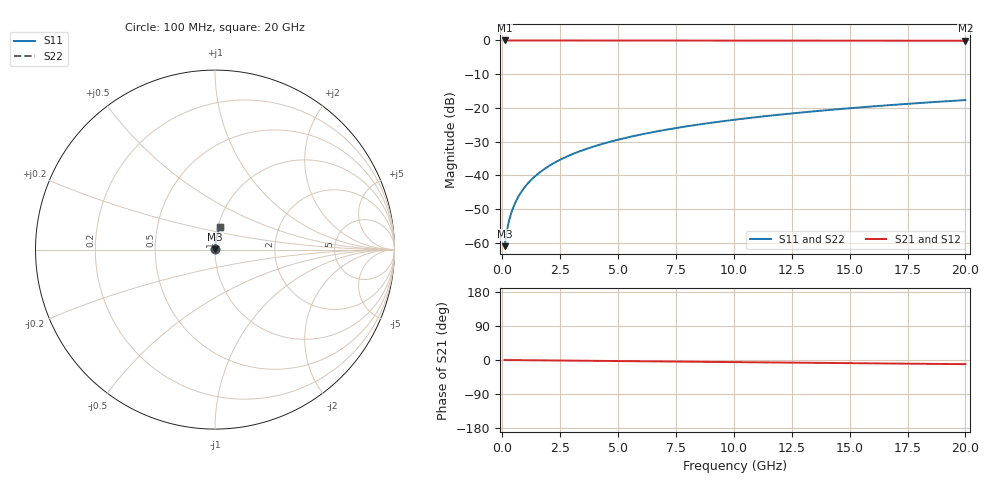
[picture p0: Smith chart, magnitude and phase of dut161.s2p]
! Touchstone file exported from HFSS 2026.1.0
!  File:  C:/ffzhzh/LocalFiles/Ansys_Project_Files/temp_train_TMRDL_161_1782983285_6248.aedt
!  Generated:  05:09:16 PM Jul  2, 2026
!  Design:  TMRDL
!  Project:  temp_train_TMRDL_161_1782983285_6248
! Variables:
!  h_bsmrdl = 2um
!  h_ox = 20um
!  h_rdl = 5um
!  h_sub = 80um
!  h_tmrdl = 4.83um
!  h_tsv = 80um
!  h_via = 3um
!  l_bsmrdl = 300um
!  l_sub = 503.41um
!  l_tmrdl = 103.41um
!  m_sub = 200um
!  pitch = 57.07um
!  r_tsv = 6um
!  s_tmrdl = 10um
!  w_bsmrdl = 18um
!  w_sub = 500um
!  w_tmrdl = 19.9um
!  x_tsv_center1 = 113.36um
!  x_tsv_center2 = 431.36um
!  x_tsv_center3 = 554.67um
!  x_tsv_center4 = 872.67um
!  x_tsv_center5 = 995.98um
!  x_tsv_center6 = 1313.98um
# GHz S MA R 50.000000
! Terminal data exported
! Port[1] = TM_RDL1_1_T1
! Port[2] = TM_RDL1_1_T2
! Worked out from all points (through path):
!   200 points, 100 MHz to 20 GHz, reference 50 ohm
!   highest |S21| = 0.00 dB at 100 MHz (marker M1); lowest = -0.1 dB at 20 GHz (marker M2)
!   group delay of S21, straight-line fit = 1.53 ps
!   lowest |S11| = -61.0 dB at 100 MHz (marker M3), VSWR 1.00, Z = 50.1 + j0.072 ohm
!   |S11| at or under -10 dB: start of sweep to end of sweep
!   |S22| runs from -61.0 to -17.7 dB; largest |S21 - S12| = 2.1e-15
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0.1  0.0008961 53.4  0.9995 -0.1  0.9995 -0.1  0.0008961 53.4
! Gamma 0 0 0 0
! Port Impedance 50 0 50 0
0.2  0.001532 68.6  0.9994 -0.1  0.9994 -0.1  0.001532 68.6
0.3  0.002199 74.5  0.9994 -0.2  0.9994 -0.2  0.002199 74.5
0.4  0.00287 77.6  0.9994 -0.2  0.9994 -0.2  0.00287 77.6
0.5  0.003542 79.6  0.9994 -0.3  0.9994 -0.3  0.003542 79.6
0.7  0.00489 82.0  0.9993 -0.4  0.9993 -0.4  0.00489 82.0
0.8  0.005566 82.8  0.9993 -0.5  0.9993 -0.5  0.005566 82.8
1  0.00692 83.8  0.9993 -0.6  0.9993 -0.6  0.00692 83.8
1.2  0.008277 84.5  0.9993 -0.7  0.9993 -0.7  0.008277 84.5
1.4  0.009636 85.0  0.9992 -0.8  0.9992 -0.8  0.009636 85.0
1.7  0.01167 85.4  0.9992 -1.0  0.9992 -1.0  0.01167 85.4
2  0.01371 85.6  0.9991 -1.1  0.9991 -1.1  0.01371 85.6
2.7  0.01845 85.8  0.999 -1.5  0.999 -1.5  0.01845 85.8
3.5  0.02384 85.7  0.9987 -2.0  0.9987 -2.0  0.02384 85.7
4.2  0.02853 85.4  0.9985 -2.4  0.9985 -2.4  0.02853 85.4
5  0.03386 85.1  0.9982 -2.8  0.9982 -2.8  0.03386 85.1
6.8  0.04577 84.3  0.9975 -3.8  0.9975 -3.8  0.04577 84.3
8.3  0.05562 83.6  0.9968 -4.6  0.9968 -4.6  0.05562 83.6
10.1  0.06737 82.8  0.9959 -5.6  0.9959 -5.6  0.06737 82.8
13.4  0.08876 81.2  0.9939 -7.4  0.9939 -7.4  0.08876 81.2
16.7  0.1099 79.5  0.9915 -9.2  0.9915 -9.2  0.1099 79.5
20  0.1309 77.8  0.9887 -11.0  0.9887 -11.0  0.1309 77.8
